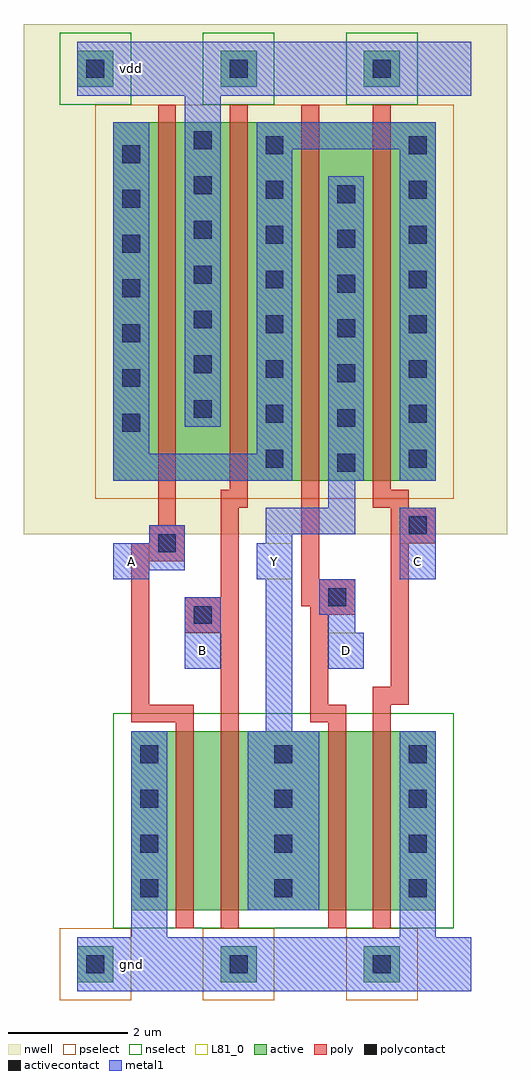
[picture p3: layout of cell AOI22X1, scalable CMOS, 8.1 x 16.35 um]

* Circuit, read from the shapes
.subckt AOI22X1 A B C D Y gnd vdd
M1 n1 A gnd gnd nfet w=3u l=0.3u
M2 Y B n1 gnd nfet w=3u l=0.3u
M3 n2 D Y gnd nfet w=3u l=0.3u
M4 gnd C n2 gnd nfet w=3u l=0.3u
M5 vdd A n3 vdd pfet w=6u l=0.3u
M6 n3 B vdd vdd pfet w=6u l=0.3u
M7 Y D n3 vdd pfet w=6u l=0.3u
M8 n3 C Y vdd pfet w=6u l=0.3u
.ends

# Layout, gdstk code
import gdstk
lib = gdstk.Library(unit=1e-6, precision=1e-09)
def R(c, l, rs):  # rectangles x0, y0, x1, y1
    for r in rs: c.add(gdstk.rectangle(r[:2], r[2:], *l))
def A(c, l, x, y, w, h, nx, ny, dx, dy):  # array of equal rectangles
    R(c, l, [(x+i*dx, y+j*dy, x+i*dx+w, y+j*dy+h) for i in range(nx) for j in range(ny)])
nwell = (42, 0)
active = (43, 0)
pselect = (44, 0)
nselect = (45, 0)
poly = (46, 0)
polycontact = (47, 0)
activecontact = (48, 0)
metal1 = (49, 0)
L81_0 = (81, 0)

aoi22x1 = lib.new_cell('AOI22X1')
R(aoi22x1, nwell, [(-1.2,7.2,6.9,15.75)])
A(aoi22x1, active, -0.3, -0.3, 0.6, 0.6, 3, 2, 2.4, 15)
R(aoi22x1, active, [(0.6,0.9,5.7,3.9), (0.3,8.1,5.7,14.1)])
A(aoi22x1, pselect, -0.6, -0.6, 1.2, 1.2, 3, 1, 2.4, 0)
R(aoi22x1, pselect, [(0,7.8,6,14.4)])
A(aoi22x1, nselect, -0.6, 14.4, 1.2, 1.2, 3, 1, 2.4, 0)
R(aoi22x1, nselect, [(0.3,0.6,6,4.2)])
R(aoi22x1, poly, [(1.35,0.6,1.65,4.05), (2.1,0.6,2.4,5.55), (3.9,0.6,4.2,4.05), (4.65,0.6,4.95,4.35), (0.6,4.05,1.65,4.35), (3.6,4.05,4.2,4.35), (0.6,4.35,0.9,6.75), (3.6,4.35,3.9,5.85), (4.65,4.35,5.25,4.65), (4.95,4.65,5.25,7.05), (1.5,5.55,2.4,6.15), (3.6,5.85,4.35,6), (3.45,6,4.35,6.45), (2.1,6.15,2.4,7.65), (3.45,6.45,3.75,14.4), (0.6,6.75,1.5,7.05), (0.9,7.05,1.5,7.35), (4.95,7.05,5.7,7.65), (1.05,7.35,1.35,14.4), (2.1,7.65,2.55,7.95), (4.65,7.65,5.25,7.95), (2.25,7.95,2.55,14.4), (4.65,7.95,4.95,14.4)])
R(aoi22x1, polycontact, [(1.65,5.7,1.95,6), (3.9,6,4.2,6.3), (1.05,6.9,1.35,7.2), (5.25,7.2,5.55,7.5)])
A(aoi22x1, activecontact, -0.15, -0.15, 0.3, 0.3, 3, 2, 2.4, 15)
A(aoi22x1, activecontact, 0.75, 1.12, 0.3, 0.3, 3, 4, 2.25, 0.75)
A(aoi22x1, activecontact, 4.05, 8.25, 0.3, 0.3, 1, 7, 0, 0.75)
A(aoi22x1, activecontact, 2.85, 8.32, 0.3, 0.3, 1, 8, 0, 0.75)
A(aoi22x1, activecontact, 5.25, 8.32, 0.3, 0.3, 1, 8, 0, 0.75)
A(aoi22x1, activecontact, 0.45, 8.92, 0.3, 0.3, 1, 7, 0, 0.75)
A(aoi22x1, activecontact, 1.65, 9.15, 0.3, 0.3, 1, 7, 0, 0.75)
R(aoi22x1, metal1, [(-0.3,-0.45,6.3,0.45), (0.6,0.45,1.2,3.9), (5.1,0.45,5.7,3.9), (2.55,0.9,3.75,3.9), (2.85,3.9,3.3,6.45), (1.5,4.95,2.1,6.15), (3.9,4.95,4.5,5.55), (3.9,5.55,4.35,5.85), (3.75,5.85,4.35,6.45), (0.3,6.45,0.9,6.6), (2.7,6.45,3.3,7.05), (5.1,6.45,5.7,7.65), (0.3,6.6,1.5,7.05), (0.9,7.05,1.5,7.35), (2.85,7.05,3.3,7.2), (2.85,7.2,4.35,7.65), (3.9,7.65,4.35,8.1), (0.3,8.1,3.3,8.55), (3.9,8.1,4.5,13.2), (5.1,8.1,5.7,13.65), (0.3,8.55,0.9,14.1), (2.7,8.55,3.3,13.65), (1.5,9,2.1,14.55), (2.7,13.65,5.7,14.1), (-0.3,14.55,6.3,15.45)])
A(aoi22x1, L81_0, 0.3, 6.45, 0.6, 0.6, 3, 1, 2.4, 0)
R(aoi22x1, L81_0, [(1.5,4.95,2.1,5.55), (3.9,4.95,4.5,5.55)])
aoi22x1.add(gdstk.Label('gnd', (0.6,0), layer=109, texttype=0))
aoi22x1.add(gdstk.Label('vdd', (0.6,15), layer=109, texttype=0))
aoi22x1.add(gdstk.Label('C', (5.4,6.75), layer=109, texttype=0))
aoi22x1.add(gdstk.Label('D', (4.2,5.25), layer=109, texttype=0))
aoi22x1.add(gdstk.Label('Y', (3,6.75), layer=109, texttype=0))
aoi22x1.add(gdstk.Label('A', (0.6,6.75), layer=109, texttype=0))
aoi22x1.add(gdstk.Label('B', (1.8,5.25), layer=109, texttype=0))

lib.write_gds('AOI22X1.gds')
